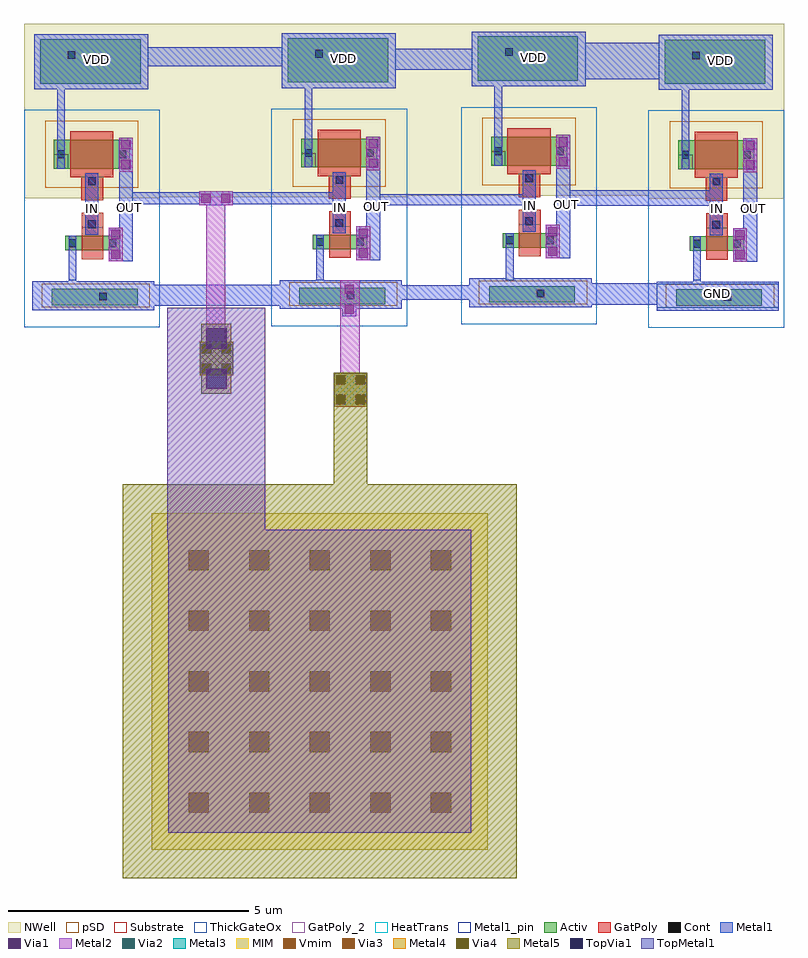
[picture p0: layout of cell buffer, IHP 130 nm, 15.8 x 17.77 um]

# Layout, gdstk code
from math import pi, radians
import gdstk
lib = gdstk.Library(unit=1e-6, precision=1e-09)
def R(c, l, rs):  # rectangles x0, y0, x1, y1
    for r in rs: c.add(gdstk.rectangle(r[:2], r[2:], *l))
def A(c, l, x, y, w, h, nx, ny, dx, dy):  # array of equal rectangles
    R(c, l, [(x+i*dx, y+j*dy, x+i*dx+w, y+j*dy+h) for i in range(nx) for j in range(ny)])
def P(c, l, *ps):  # polygons
    for p in ps: c.add(gdstk.Polygon(p, *l))
Activ = (1, 0)
GatPoly = (5, 0)
GatPoly_2 = (5, 2)
Cont = (6, 0)
Metal1 = (8, 0)
Metal1_pin = (8, 2)
Metal2 = (10, 0)
pSD = (14, 0)
Via1 = (19, 0)
Via2 = (29, 0)
Metal3 = (30, 0)
NWell = (31, 0)
MIM = (36, 0)
Substrate = (40, 0)
ThickGateOx = (44, 0)
Via3 = (49, 0)
Metal4 = (50, 0)
HeatTrans = (51, 0)
Via4 = (66, 0)
Metal5 = (67, 0)
TopVia1 = (125, 0)
TopMetal1 = (126, 0)
Vmim = (129, 0)

via_stack_2 = lib.new_cell('via_stack$2')

via_stack_1 = lib.new_cell('via_stack$1')

pmoshv = lib.new_cell('pmosHV')

pmoshv_1 = lib.new_cell('pmosHV$1')

nmoshv = lib.new_cell('nmosHV')

via_stack_3 = lib.new_cell('via_stack$3')

pmoshv_2 = lib.new_cell('pmosHV$2')
R(pmoshv_2, Activ, [(0,0,0.3,0.3), (0,0,1.58,0.6), (1.28,0,1.58,0.3)])
R(pmoshv_2, GatPoly, [(0.34,-0.18,1.24,0.78)])
R(pmoshv_2, GatPoly_2, [(0.34,-0.18,1.24,0.78)])
R(pmoshv_2, Cont, [(0.07,0.22,0.23,0.38), (1.35,0.22,1.51,0.38)])
R(pmoshv_2, Metal1, [(0.07,0,0.23,0.6), (1.35,0,1.51,0.6)])
R(pmoshv_2, Metal1_pin, [(0.07,0,0.23,0.6), (1.35,0,1.51,0.6)])
R(pmoshv_2, pSD, [(-0.18,-0.4,1.76,1)])
R(pmoshv_2, NWell, [(-0.62,-0.62,2.2,1.22)])
R(pmoshv_2, Substrate, [(1.28,0,1.58,0.3)])
R(pmoshv_2, ThickGateOx, [(-0.62,-0.62,2.2,1.22)])
R(pmoshv_2, HeatTrans, [(0.34,-0.18,1.24,0.78)])
pmoshv_2.add(gdstk.Label('pmosHV', (0.79,0.3), layer=63, texttype=0))
pmoshv_2.add(gdstk.Label('pmos', (0.79,0.3), layer=51, texttype=0))

via_stack = lib.new_cell('via_stack')
R(via_stack, Metal1, [(-0.145,-0.35,0.145,0.35)])
R(via_stack, Metal2, [(-0.145,-0.35,0.145,0.35)])
R(via_stack, Via1, [(-0.095,-0.3,0.095,-0.11), (-0.095,0.11,0.095,0.3)])

nmoshv_1 = lib.new_cell('nmosHV$1')
R(nmoshv_1, Activ, [(0,0,0.3,0.3), (0,0,1.13,0.3), (0.83,0,1.13,0.3)])
R(nmoshv_1, GatPoly, [(0.34,-0.18,0.79,0.48)])
R(nmoshv_1, GatPoly_2, [(0.34,-0.18,0.79,0.48)])
R(nmoshv_1, Cont, [(0.07,0.07,0.23,0.23), (0.9,0.07,1.06,0.23)])
R(nmoshv_1, Metal1, [(0.07,0,0.23,0.3), (0.9,0,1.06,0.3)])
R(nmoshv_1, Metal1_pin, [(0.07,0,0.23,0.3), (0.9,0,1.06,0.3)])
R(nmoshv_1, ThickGateOx, [(-0.27,-0.52,1.4,0.82)])
R(nmoshv_1, HeatTrans, [(0.34,-0.18,0.79,0.48)])
nmoshv_1.add(gdstk.Label('nmosHV', (0.565,0.15), layer=63, texttype=0))
nmoshv_1.add(gdstk.Label('nmosHV', (0.565,0.15), layer=51, texttype=0))

cmim_1 = lib.new_cell('cmim$1')
R(cmim_1, MIM, [(0,0,6.99,6.99)])
R(cmim_1, Metal5, [(-0.6,-0.6,7.59,7.59)])
R(cmim_1, TopMetal1, [(0.345,0.345,6.645,6.645)])
A(cmim_1, Vmim, 0.765, 0.765, 0.42, 0.42, 5, 5, 1.26, 1.26)

via_stack_6 = lib.new_cell('via_stack$6')
R(via_stack_6, Metal1, [(-0.35,-0.145,0.35,0.145)])
R(via_stack_6, Metal2, [(-0.35,-0.145,0.35,0.145)])
R(via_stack_6, Via1, [(-0.3,-0.095,-0.11,0.095), (0.11,-0.095,0.3,0.095)])

via_stack_5 = lib.new_cell('via_stack$5')
R(via_stack_5, Metal2, [(-0.35,-0.35,0.35,0.35)])
R(via_stack_5, Via2, [(-0.3,-0.3,-0.11,-0.11), (0.11,-0.3,0.3,-0.11), (-0.3,0.11,-0.11,0.3), (0.11,0.11,0.3,0.3)])
R(via_stack_5, Metal3, [(-0.35,-0.35,0.35,0.35)])
R(via_stack_5, Via3, [(-0.3,-0.3,-0.11,-0.11), (0.11,-0.3,0.3,-0.11), (-0.3,0.11,-0.11,0.3), (0.11,0.11,0.3,0.3)])
R(via_stack_5, Metal4, [(-0.35,-0.35,0.35,0.35)])
R(via_stack_5, Via4, [(-0.3,-0.3,-0.11,-0.11), (0.11,-0.3,0.3,-0.11), (-0.3,0.11,-0.11,0.3), (0.11,0.11,0.3,0.3)])
R(via_stack_5, Metal5, [(-0.35,-0.35,0.35,0.35)])

via_stack_4 = lib.new_cell('via_stack$4')
R(via_stack_4, Metal2, [(-0.35,-0.35,0.35,0.35)])
R(via_stack_4, Via2, [(-0.3,-0.3,-0.11,-0.11), (0.11,-0.3,0.3,-0.11), (-0.3,0.11,-0.11,0.3), (0.11,0.11,0.3,0.3)])
R(via_stack_4, Metal3, [(-0.35,-0.35,0.35,0.35)])
R(via_stack_4, Via3, [(-0.3,-0.3,-0.11,-0.11), (0.11,-0.3,0.3,-0.11), (-0.3,0.11,-0.11,0.3), (0.11,0.11,0.3,0.3)])
R(via_stack_4, Metal4, [(-0.35,-0.35,0.35,0.35)])
R(via_stack_4, Via4, [(-0.3,-0.3,-0.11,-0.11), (0.11,-0.3,0.3,-0.11), (-0.3,0.11,-0.11,0.3), (0.11,0.11,0.3,0.3)])
R(via_stack_4, Metal5, [(-0.35,-0.35,0.35,0.35), (-0.73,-0.31,0.73,0.31)])
R(via_stack_4, TopVia1, [(-0.63,-0.21,-0.21,0.21), (0.21,-0.21,0.63,0.21)])
R(via_stack_4, TopMetal1, [(-1.05,-0.63,1.05,0.63)])

buffer = lib.new_cell('buffer')
R(buffer, Activ, [(12.83,-0.405,14.61,-0.065), (-0.15,-0.395,1.63,-0.055), (4.995,-0.37,6.775,-0.03), (8.94,-0.335,10.72,0.005), (12.59,4.205,14.675,5.125), (-0.39,4.215,1.695,5.135), (4.755,4.24,6.84,5.16), (8.7,4.275,10.785,5.195)])
R(buffer, GatPoly, [(13.45,1.215,13.9,1.52), (0.47,1.225,0.92,1.53), (5.615,1.25,6.065,1.555), (9.56,1.285,10.01,1.59), (13.445,1.78,13.895,2.31), (0.465,1.79,0.915,2.32), (5.61,1.815,6.06,2.345), (9.555,1.85,10.005,2.38), (13.495,1.94,13.855,2.255), (0.515,1.95,0.875,2.265), (5.66,1.975,6.02,2.29), (9.605,2.01,9.965,2.325)])
R(buffer, Cont, [(13.815,-0.3,13.975,-0.14), (0.835,-0.29,0.995,-0.13), (5.98,-0.265,6.14,-0.105), (9.925,-0.23,10.085,-0.07), (13.58,1.2,13.74,1.36), (0.6,1.21,0.76,1.37), (5.745,1.235,5.905,1.395), (9.69,1.27,9.85,1.43), (13.585,2.095,13.745,2.255), (0.605,2.105,0.765,2.265), (5.75,2.13,5.91,2.29), (9.695,2.165,9.855,2.325), (13.16,4.72,13.32,4.88), (0.18,4.73,0.34,4.89), (5.325,4.755,5.485,4.915), (9.27,4.79,9.43,4.95)])
R(buffer, Metal1, [(11.07,-0.385,12.42,0.06), (0.545,1.075,0.815,2.35)])
P(buffer, Metal1, [(12.94,2.435),(12.94,4.085),(12.465,4.085),(12.465,4.3),(10.945,4.3),(10.945,4.155),(9.21,4.155),(9.21,2.505),(9.05,2.505),(9.05,4.155),(8.575,4.155),(8.575,4.505),(7,4.505),(7,4.12),(5.265,4.12),(5.265,2.47),(5.105,2.47),(5.105,4.12),(4.63,4.12),(4.63,4.575),(1.855,4.575),(1.855,4.095),(0.12,4.095),(0.12,2.445),(-0.04,2.445),(-0.04,4.095),(-0.515,4.095),(-0.515,5.235),(1.855,5.235),(1.855,4.97),(4.63,4.97),(4.63,5.26),(7,5.26),(7,4.935),(8.575,4.935),(8.575,5.295),(10.945,5.295),(10.945,5.06),(12.465,5.06),(12.465,5.225),(14.835,5.225),(14.835,4.085),(13.1,4.085),(13.1,2.435)],
  [(-0.56,-0.495),(-0.56,0.105),(0.2,0.105),(0.2,1.045),(0.36,1.045),(0.36,0.105),(1.98,0.105),(1.98,0.035),(4.585,0.035),(4.585,0.13),(5.345,0.13),(5.345,1.07),(5.505,1.07),(5.505,0.13),(7.125,0.13),(7.125,0.025),(8.53,0.025),(8.53,0.165),(9.29,0.165),(9.29,1.105),(9.45,1.105),(9.45,0.165),(11.07,0.165),(11.07,-0.435),(8.53,-0.435),(8.53,-0.28),(7.125,-0.28),(7.125,-0.47),(4.585,-0.47),(4.585,-0.41),(1.98,-0.41),(1.98,-0.495)],
  [(1.31,0.52),(1.31,1.2),(1.245,1.2),(1.245,2.385),(1.535,2.385),(1.535,1.95),(5.69,1.95),(5.69,2.375),(5.96,2.375),(5.96,1.1),(5.69,1.1),(5.69,1.71),(1.535,1.71),(1.535,0.52)],
  [(14.29,0.51),(14.29,1.19),(14.225,1.19),(14.225,2.375),(14.515,2.375),(14.515,0.51)],
  [(10.4,0.58),(10.4,1.26),(10.335,1.26),(10.335,2.445),(10.625,2.445),(10.625,2),(13.525,2),(13.525,2.34),(13.795,2.34),(13.795,1.065),(13.525,1.065),(13.525,1.67),(10.625,1.67),(10.625,0.58)],
  [(6.455,0.545),(6.455,1.225),(6.39,1.225),(6.39,2.41),(6.68,2.41),(6.68,1.91),(9.635,1.91),(9.635,2.41),(9.905,2.41),(9.905,1.135),(9.635,1.135),(9.635,1.685),(6.68,1.685),(6.68,0.545)],
  [(12.42,-0.505),(12.42,0.095),(13.18,0.095),(13.18,1.035),(13.34,1.035),(13.34,0.095),(14.96,0.095),(14.96,-0.505)])
R(buffer, Metal1_pin, [(12.42,-0.45,14.96,0.055), (13.18,0.125,13.34,1.035), (0.2,0.13,0.36,1.045), (5.345,0.13,5.505,1.07), (9.29,0.13,9.45,1.105), (13.525,1.065,13.795,2.34), (0.545,1.075,0.815,2.35), (5.69,1.1,5.96,2.375), (9.635,1.135,9.905,2.41)])
P(buffer, Metal1_pin, [(5.105,2.47),(5.105,4.12),(4.63,4.12),(4.63,5.26),(7,5.26),(7,4.12),(5.265,4.12),(5.265,2.47)],
  [(6.175,0.545),(6.175,1.245),(6.39,1.245),(6.39,3.11),(6.68,3.11),(6.68,0.545)],
  [(-0.04,2.445),(-0.04,4.095),(-0.515,4.095),(-0.515,5.235),(1.855,5.235),(1.855,4.095),(0.12,4.095),(0.12,2.445)],
  [(1.03,0.52),(1.03,1.22),(1.245,1.22),(1.245,3.085),(1.535,3.085),(1.535,0.52)],
  [(14.01,0.51),(14.01,1.21),(14.225,1.21),(14.225,3.075),(14.515,3.075),(14.515,0.51)],
  [(12.94,2.435),(12.94,4.085),(12.465,4.085),(12.465,5.225),(14.835,5.225),(14.835,4.085),(13.1,4.085),(13.1,2.435)],
  [(10.12,0.58),(10.12,1.28),(10.335,1.28),(10.335,3.145),(10.625,3.145),(10.625,0.58)],
  [(9.05,2.505),(9.05,4.155),(8.575,4.155),(8.575,5.295),(10.945,5.295),(10.945,4.155),(9.21,4.155),(9.21,2.505)])
R(buffer, Metal2, [(5.845,-2.275,6.245,-1.5), (3.055,-1.63,3.455,1.95), (5.845,-1.555,6.245,0.13)])
R(buffer, pSD, [(12.615,-0.445,14.865,0.045), (-0.365,-0.435,1.885,0.055), (4.78,-0.41,7.03,0.08), (8.725,-0.375,10.975,0.115)])
P(buffer, NWell, [(2.09,1.85),(2.09,3.665),(-0.73,3.665),(-0.73,5.46),(15.07,5.46),(15.07,3.555),(12.365,3.555),(12.365,1.885),(11.18,1.885),(11.18,3.555),(8.36,3.555),(8.36,1.885),(7.235,1.885),(7.235,3.555),(4.415,3.555),(4.415,1.85)])
R(buffer, ThickGateOx, [(12.25,-0.865,15.07,1.815), (-0.73,-0.855,2.09,1.825), (4.415,-0.83,7.235,1.85), (8.36,-0.795,11.18,1.885)])
R(buffer, Metal5, [(5.71,-4.135,6.41,-2.5)])
R(buffer, TopMetal1, [(2.25,-5.27,4.285,-0.45)])
buffer.add(gdstk.Reference(via_stack_2, (20.555,7.015)))
buffer.add(gdstk.Reference(via_stack_2, (18.49,2.71)))
buffer.add(gdstk.Reference(via_stack_2, (17.64,3.285)))
buffer.add(gdstk.Reference(via_stack_2, (15.715,6.44)))
buffer.add(gdstk.Reference(via_stack_1, (13.365,2.695)))
buffer.add(gdstk.Reference(via_stack_1, (13.395,6.185)))
buffer.add(gdstk.Reference(via_stack_1, (21.655,2.665)))
buffer.add(gdstk.Reference(via_stack_2, (16.545,2.765)))
buffer.add(gdstk.Reference(via_stack_2, (14.72,3.315)))
buffer.add(gdstk.Reference(via_stack_2, (16.345,0.82)))
buffer.add(gdstk.Reference(via_stack_2, (18.91,0.825)))
buffer.add(gdstk.Reference(via_stack_2, (19.51,6.455)))
buffer.add(gdstk.Reference(via_stack_1, (21.685,6.235)))
buffer.add(gdstk.Reference(pmoshv, (20.73,5.69), rotation=pi))
buffer.add(gdstk.Reference(pmoshv_1, (14.53,4.49)))
buffer.add(gdstk.Reference(nmoshv, (17.36,2.14), rotation=pi))
buffer.add(gdstk.Reference(nmoshv, (17.9,1.84)))
buffer.add(gdstk.Reference(via_stack_3, (17.22,7.05)))
buffer.add(gdstk.Reference(via_stack_3, (20.3,0.85)))
buffer.add(gdstk.Reference(pmoshv_2, (6.615,2.47), rotation=pi, x_reflection=True))
buffer.add(gdstk.Reference(via_stack, (6.32,0.895), rotation=pi, x_reflection=True))
buffer.add(gdstk.Reference(via_stack, (6.535,2.76), rotation=pi, x_reflection=True))
buffer.add(gdstk.Reference(nmoshv_1, (5.275,0.77)))
buffer.add(gdstk.Reference(pmoshv_2, (1.47,2.445), rotation=pi, x_reflection=True))
buffer.add(gdstk.Reference(via_stack, (1.175,0.87), rotation=pi, x_reflection=True))
buffer.add(gdstk.Reference(via_stack, (1.39,2.735), rotation=pi, x_reflection=True))
buffer.add(gdstk.Reference(nmoshv_1, (0.13,0.745)))
buffer.add(gdstk.Reference(nmoshv_1, (13.11,0.735)))
buffer.add(gdstk.Reference(via_stack, (14.37,2.725), rotation=pi, x_reflection=True))
buffer.add(gdstk.Reference(via_stack, (14.155,0.86), rotation=pi, x_reflection=True))
buffer.add(gdstk.Reference(pmoshv_2, (14.45,2.435), rotation=pi, x_reflection=True))
buffer.add(gdstk.Reference(nmoshv_1, (9.22,0.805)))
buffer.add(gdstk.Reference(via_stack, (10.48,2.795), rotation=pi, x_reflection=True))
buffer.add(gdstk.Reference(via_stack, (10.265,0.93), rotation=pi, x_reflection=True))
buffer.add(gdstk.Reference(pmoshv_2, (10.56,2.505), rotation=pi, x_reflection=True))
buffer.add(gdstk.Reference(cmim_1, (8.915,-11.71), rotation=pi/2))
buffer.add(gdstk.Reference(via_stack, (3.26,1.83), rotation=pi/2))
buffer.add(gdstk.Reference(via_stack_6, (6.03,-0.27), rotation=pi/2))
buffer.add(gdstk.Reference(via_stack_5, (6.06,-2.15), rotation=pi/2))
buffer.add(gdstk.Reference(via_stack_4, (3.27,-1.505), rotation=pi/2))
buffer.add(gdstk.Label('GND', (13.695,-0.145), layer=8, texttype=25))
buffer.add(gdstk.Label('IN', (5.845,1.645), layer=8, texttype=25))
buffer.add(gdstk.Label('OUT', (6.605,1.66), layer=8, texttype=25))
buffer.add(gdstk.Label('VDD', (5.92,4.73), layer=8, texttype=25))
buffer.add(gdstk.Label('IN', (0.7,1.62), layer=8, texttype=25))
buffer.add(gdstk.Label('OUT', (1.46,1.635), layer=8, texttype=25))
buffer.add(gdstk.Label('VDD', (0.775,4.705), layer=8, texttype=25))
buffer.add(gdstk.Label('VDD', (13.755,4.695), layer=8, texttype=25))
buffer.add(gdstk.Label('OUT', (14.44,1.625), layer=8, texttype=25))
buffer.add(gdstk.Label('IN', (13.68,1.61), layer=8, texttype=25))
buffer.add(gdstk.Label('VDD', (9.865,4.765), layer=8, texttype=25))
buffer.add(gdstk.Label('OUT', (10.55,1.695), layer=8, texttype=25))
buffer.add(gdstk.Label('IN', (9.79,1.68), layer=8, texttype=25))

lib.write_gds('buffer.gds')
